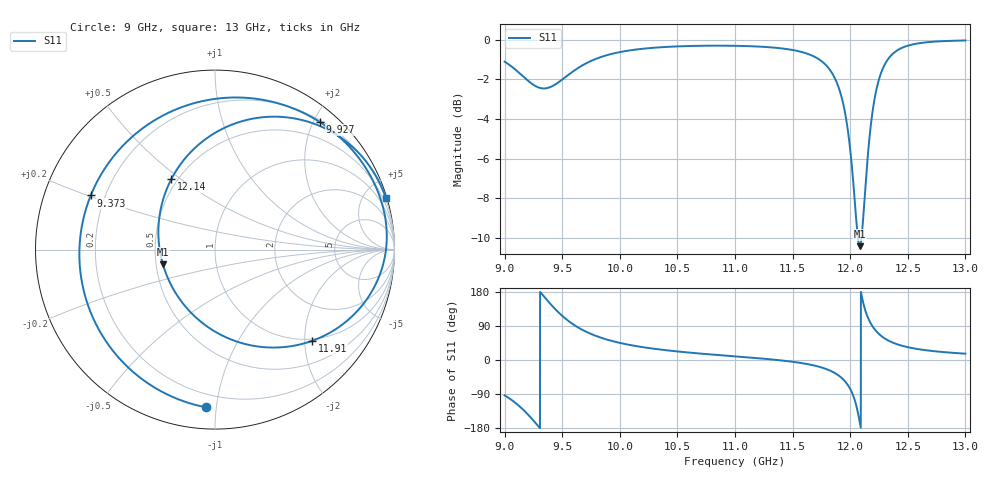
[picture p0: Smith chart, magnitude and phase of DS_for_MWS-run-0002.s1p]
! TOUCHSTONE file generated by CST DESIGN STUDIO
! Date and time: Tue Feb  4 17:49:31 2025
! Project name: C:\Work\MatlabApps\UnitCellOptimizationMatlab\CST\unitcell.cst
! Tree item: Tasks\Sweep1\SPara1\S-Parameters
! Header version: 2024
! Port assignment regex: !\s*Touchstone port\s*([0-9]+)\s*=\s*(CST MWS port|CST DES external port|CST DES block port)\s*(.+)\s* \(\"(.*)\"\)(\s*mode\s*([0-9]+))?.*
! Touchstone port assignment:
! Touchstone port 1 = CST DES external port 1 ("")
# GHz S MA R 50
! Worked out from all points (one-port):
!   4001 points, 9 GHz to 13 GHz, reference 50 ohm
!   lowest |S11| = -10.4 dB at 12.08 GHz (marker M1), VSWR 1.86, Z = 27.2 - j4.89 ohm
!   |S11| at or under -10 dB: 12.06708 GHz to 12.09777 GHz (30.69 MHz wide, 0.254 % of centre)
!   S11 on the Smith chart (normalised r, x): 9 GHz: 0.12, -0.94; 9.373 GHz: 0.15, +0.20; 9.927 GHz: 0.23, +2.09; 11.91 GHz: 0.96, -2.16; 12.14 GHz: 0.46, +0.46; 13 GHz: 0.12, +6.80
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9  0.8799 -93.3
9.086  0.8438 -111.3
9.166  0.8051 -132.5
9.274  0.762 -168.0
9.373  0.7552 156.4
9.5  0.793 116.6
9.574  0.8233 98.6
9.659  0.8555 82.2
9.785  0.8923 64.5
9.927  0.9199 50.6
10  0.93 45.2
10.216  0.9492 33.1
10.5  0.9612 22.6
11  0.9645 9.6
11.5  0.9414 -4.7
11.76  0.8782 -20.5
11.843  0.823 -30.5
11.91  0.7421 -43.3
12  0.5286 -76.3
12.041  0.3876 -107.2
12.083  0.3017 -164.3
12.111  0.3495 153.5
12.141  0.462 121.8
12.19  0.6456 90.7
12.247  0.7886 69.5
12.354  0.9113 48.0
12.5  0.9652 33.8
13  0.9949 16.7
